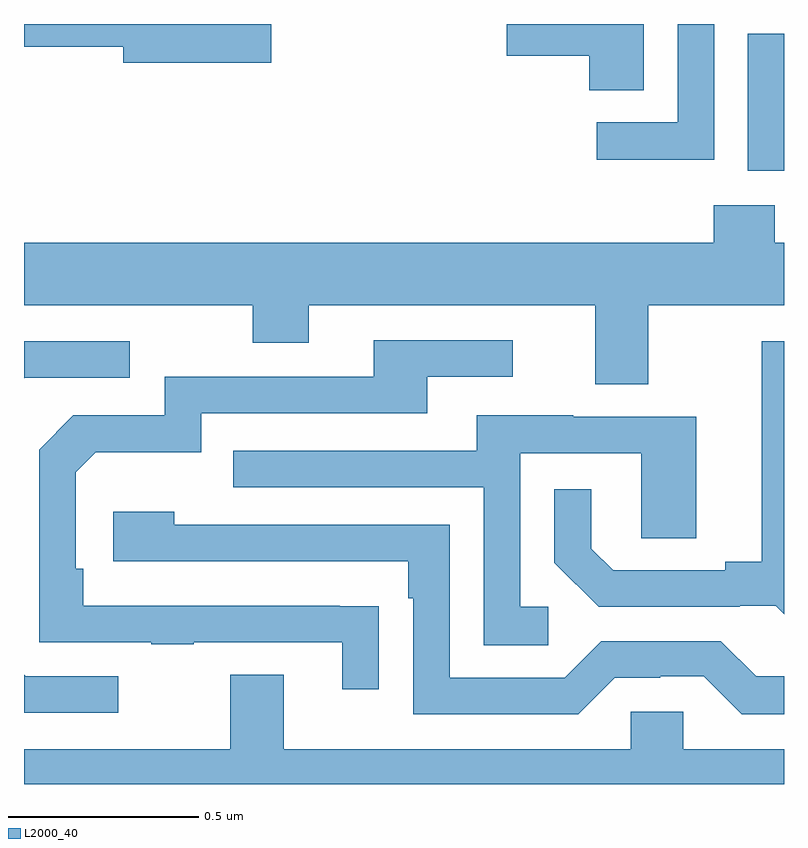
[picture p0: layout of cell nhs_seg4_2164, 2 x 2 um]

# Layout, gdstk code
import gdstk
lib = gdstk.Library(unit=1e-6, precision=1e-09)
def R(c, l, rs):  # rectangles x0, y0, x1, y1
    for r in rs: c.add(gdstk.rectangle(r[:2], r[2:], *l))
def P(c, l, *ps):  # polygons
    for p in ps: c.add(gdstk.Polygon(p, *l))
L2000_40 = (2000, 40)

nhs_seg4_2164 = lib.new_cell('nhs_seg4_2164')
R(nhs_seg4_2164, L2000_40, [(138.905,790.514,139,790.875)])
P(nhs_seg4_2164, L2000_40, [(137.65,790.9),(137,790.9),(137,790.84),(137.261,790.84),(137.261,790.798),(137.65,790.798)],
  [(138.631,790.9),(138.27,790.9),(138.27,790.817),(138.488,790.817),(138.488,790.726),(138.631,790.726)],
  [(138.816,790.9),(138.72,790.9),(138.72,790.641),(138.507,790.641),(138.507,790.543),(138.816,790.543)],
  [(138.643,790.16),(139,790.16),(139,790.324),(138.975,790.324),(138.975,790.423),(138.815,790.423),(138.815,790.324),(137,790.324),(137,790.16),(137.602,790.16),(137.602,790.061),(137.749,790.061),(137.749,790.16),(138.503,790.16),(138.503,789.952),(138.643,789.952)],
  [(137.933,789.368),(137.831,789.368),(137.831,789.369),(137.156,789.369),(137.156,789.466),(137.136,789.466),(137.136,789.72),(137.189,789.773),(137.466,789.773),(137.466,789.876),(138.061,789.876),(138.061,789.972),(138.286,789.972),(138.286,790.068),(137.921,790.068),(137.921,789.972),(137.37,789.972),(137.37,789.87),(137.13,789.87),(137.04,789.78),(137.04,789.273),(137.335,789.273),(137.335,789.268),(137.447,789.268),(137.447,789.273),(137.837,789.273),(137.837,789.15),(137.933,789.15)],
  [(139,790.065),(138.941,790.065),(138.941,789.485),(138.845,789.485),(138.845,789.462),(138.55,789.462),(138.493,789.519),(138.493,789.676),(138.396,789.676),(138.396,789.482),(138.512,789.366),(138.884,789.366),(138.884,789.369),(138.978,789.369),(139,789.347)],
  [(137.001,789.969),(137.278,789.969),(137.278,790.065),(137,790.065),(137,789.968)],
  [(138.379,789.366),(138.306,789.366),(138.306,789.771),(138.624,789.771),(138.624,789.547),(138.769,789.547),(138.769,789.867),(138.445,789.867),(138.445,789.871),(138.191,789.871),(138.191,789.777),(137.551,789.777),(137.551,789.681),(138.21,789.681),(138.21,789.265),(138.379,789.265)],
  [(139,789.183),(138.927,789.183),(138.834,789.276),(138.519,789.276),(138.423,789.18),(138.12,789.18),(138.12,789.582),(137.396,789.582),(137.396,789.616),(137.235,789.616),(137.235,789.486),(138.011,789.486),(138.011,789.389),(138.024,789.389),(138.024,789.084),(138.459,789.084),(138.555,789.18),(138.674,789.18),(138.674,789.183),(138.789,789.183),(138.889,789.083),(139,789.083)],
  [(137.248,789.183),(137.004,789.183),(137,789.187),(137,789.087),(137.248,789.087)],
  [(139,788.992),(138.735,788.992),(138.735,789.09),(138.597,789.09),(138.597,788.992),(137.683,788.992),(137.683,789.187),(137.543,789.187),(137.543,788.992),(137,788.992),(137,788.9),(139,788.9)])

lib.write_gds('nhs_seg4_2164.gds')
